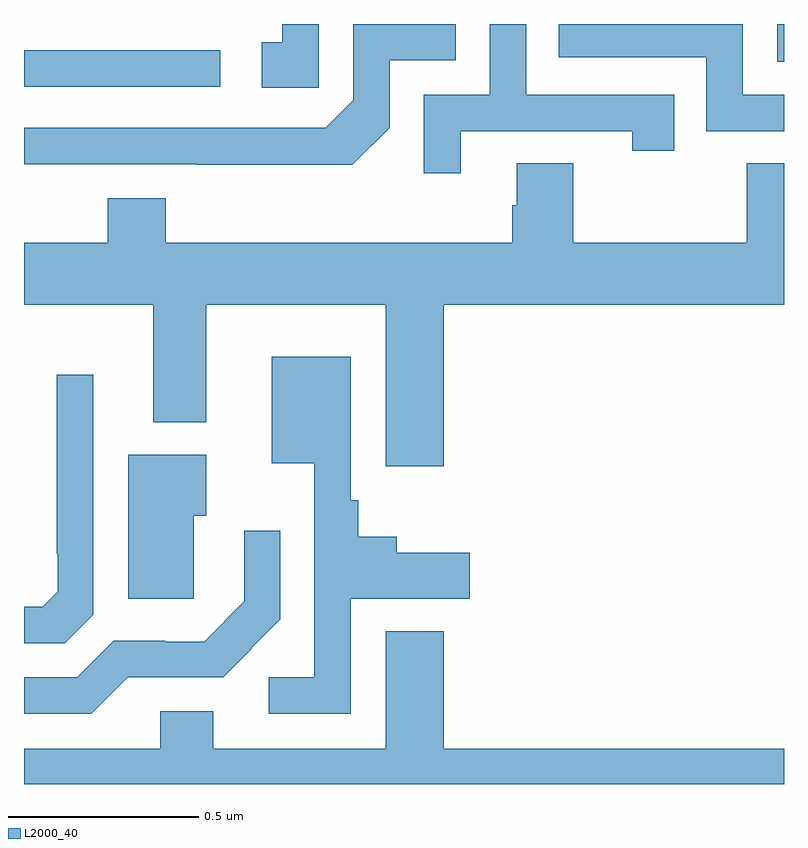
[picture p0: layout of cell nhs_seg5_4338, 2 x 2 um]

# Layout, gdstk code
import gdstk
lib = gdstk.Library(unit=1e-6, precision=1e-09)
def R(c, l, rs):  # rectangles x0, y0, x1, y1
    for r in rs: c.add(gdstk.rectangle(r[:2], r[2:], *l))
def P(c, l, *ps):  # polygons
    for p in ps: c.add(gdstk.Polygon(p, *l))
L2000_40 = (2000, 40)

nhs_seg5_4338 = lib.new_cell('nhs_seg5_4338')
R(nhs_seg5_4338, L2000_40, [(169,890.634,169.516,890.73), (170.982,890.7,171,890.799)])
P(nhs_seg5_4338, L2000_40, [(171,890.613),(170.892,890.613),(170.892,890.799),(170.407,890.799),(170.407,890.712),(170.796,890.712),(170.796,890.517),(171,890.517)],
  [(169.776,890.799),(169.679,890.799),(169.679,890.751),(169.626,890.751),(169.626,890.631),(169.776,890.631)],
  [(169.962,890.526),(169.962,890.703),(170.136,890.703),(170.136,890.799),(169.866,890.799),(169.866,890.598),(169.794,890.526),(169,890.526),(169,890.43),(169.456,890.43),(169.456,890.429),(169.864,890.429)],
  [(170.149,890.517),(170.6,890.517),(170.6,890.466),(170.711,890.466),(170.711,890.613),(170.322,890.613),(170.322,890.799),(170.226,890.799),(170.226,890.613),(170.052,890.613),(170.052,890.406),(170.149,890.406)],
  [(170.105,890.06),(171,890.06),(171,890.432),(170.902,890.432),(170.902,890.224),(170.445,890.224),(170.445,890.432),(170.297,890.432),(170.297,890.322),(170.285,890.322),(170.285,890.224),(169.373,890.224),(169.373,890.341),(169.22,890.341),(169.22,890.224),(169,890.224),(169,890.06),(169.34,890.06),(169.34,889.751),(169.48,889.751),(169.48,890.06),(169.952,890.06),(169.952,889.635),(170.105,889.635)],
  [(169.86,889.286),(170.173,889.286),(170.173,889.408),(169.981,889.408),(169.981,889.45),(169.88,889.45),(169.88,889.546),(169.86,889.546),(169.86,889.924),(169.652,889.924),(169.652,889.643),(169.764,889.643),(169.764,889.08),(169.644,889.08),(169.644,888.984),(169.86,888.984)],
  [(169.182,889.245),(169.182,889.876),(169.086,889.876),(169.086,889.405),(169.089,889.405),(169.089,889.305),(169.049,889.265),(169,889.265),(169,889.17),(169.107,889.17)],
  [(169.447,889.505),(169.48,889.505),(169.48,889.666),(169.274,889.666),(169.274,889.287),(169.447,889.287)],
  [(169.273,889.08),(169.524,889.08),(169.599,889.155),(169.598,889.156),(169.674,889.232),(169.674,889.465),(169.58,889.465),(169.58,889.28),(169.474,889.174),(169.372,889.174),(169.372,889.176),(169.236,889.176),(169.14,889.08),(169,889.08),(169,888.984),(169.177,888.984)],
  [(171,888.892),(170.105,888.892),(170.105,889.201),(169.952,889.201),(169.952,888.892),(169.498,888.892),(169.498,888.991),(169.358,888.991),(169.358,888.892),(169,888.892),(169,888.799),(171,888.799)])

lib.write_gds('nhs_seg5_4338.gds')
